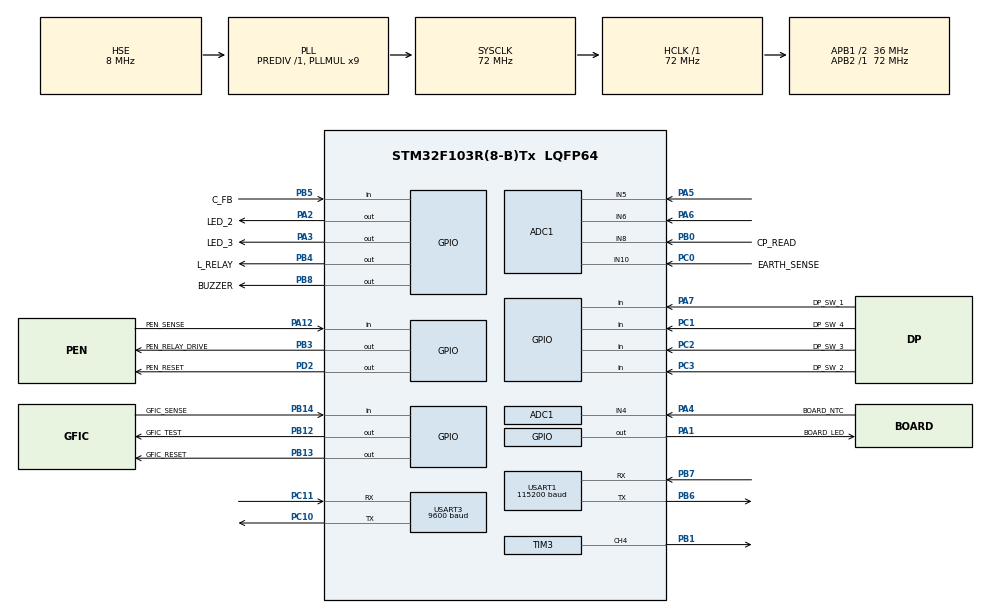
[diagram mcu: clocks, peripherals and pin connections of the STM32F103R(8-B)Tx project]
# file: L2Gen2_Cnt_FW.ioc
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ADC1.Channel-0\#ChannelRegularConversion=ADC_CHANNEL_4
ADC1.Channel-1\#ChannelRegularConversion=ADC_CHANNEL_5
ADC1.Channel-2\#ChannelRegularConversion=ADC_CHANNEL_6
ADC1.Channel-3\#ChannelRegularConversion=ADC_CHANNEL_8
ADC1.Channel-4\#ChannelRegularConversion=ADC_CHANNEL_10
ADC1.Channel-5\#ChannelRegularConversion=ADC_CHANNEL_TEMPSENSOR
ADC1.Channel-6\#ChannelRegularConversion=ADC_CHANNEL_VREFINT
ADC1.ContinuousConvMode=ENABLE
ADC1.NbrOfConversion=7
ADC1.NbrOfConversionFlag=1
ADC1.Rank-0\#ChannelRegularConversion=1
ADC1.Rank-1\#ChannelRegularConversion=2
ADC1.Rank-2\#ChannelRegularConversion=3
ADC1.Rank-3\#ChannelRegularConversion=4
ADC1.Rank-4\#ChannelRegularConversion=5
ADC1.Rank-5\#ChannelRegularConversion=6
ADC1.Rank-6\#ChannelRegularConversion=7
ADC1.SamplingTime-0\#ChannelRegularConversion=ADC_SAMPLETIME_7CYCLES_5
ADC1.SamplingTime-1\#ChannelRegularConversion=ADC_SAMPLETIME_7CYCLES_5
ADC1.SamplingTime-2\#ChannelRegularConversion=ADC_SAMPLETIME_7CYCLES_5
ADC1.SamplingTime-3\#ChannelRegularConversion=ADC_SAMPLETIME_28CYCLES_5
ADC1.SamplingTime-4\#ChannelRegularConversion=ADC_SAMPLETIME_7CYCLES_5
ADC1.SamplingTime-5\#ChannelRegularConversion=ADC_SAMPLETIME_7CYCLES_5
ADC1.SamplingTime-6\#ChannelRegularConversion=ADC_SAMPLETIME_239CYCLES_5
ADC1.master=1
Dma.ADC1.0.Direction=DMA_PERIPH_TO_MEMORY
Dma.ADC1.0.Instance=DMA1_Channel1
Dma.ADC1.0.MemDataAlignment=DMA_MDATAALIGN_HALFWORD
Dma.ADC1.0.MemInc=DMA_MINC_ENABLE
Dma.ADC1.0.Mode=DMA_CIRCULAR
Dma.ADC1.0.PeriphDataAlignment=DMA_PDATAALIGN_HALFWORD
Dma.ADC1.0.PeriphInc=DMA_PINC_DISABLE
Dma.ADC1.0.Priority=DMA_PRIORITY_VERY_HIGH
Dma.Request0=ADC1
Mcu.Family=STM32F1
Mcu.Name=STM32F103R(8-B)Tx
Mcu.Package=LQFP64
NVIC.ADC1_2_IRQn=true\:0\:0\:false\:false\:true\:true\:true\:true
NVIC.DMA1_Channel1_IRQn=true\:0\:0\:false\:false\:true\:false\:true\:true
NVIC.PriorityGroup=NVIC_PRIORITYGROUP_4
NVIC.TIM2_IRQn=true\:0\:0\:false\:false\:true\:true\:true\:true
NVIC.USART1_IRQn=true\:0\:0\:false\:false\:true\:true\:true\:true
NVIC.USART3_IRQn=true\:0\:0\:false\:false\:true\:true\:true\:true
PA0-WKUP.Mode=SYS_WakeUp0
PA0-WKUP.Signal=SYS_WKUP
PA1.GPIO_Label=BOARD_LED
PA1.Signal=GPIO_Output
PA12.GPIO_Label=PEN_SENSE
PA12.Signal=GPIO_Input
PA13.Mode=Serial_Wire
PA13.Signal=SYS_JTMS-SWDIO
PA14.Mode=Serial_Wire
PA14.Signal=SYS_JTCK-SWCLK
PA2.GPIO_Label=LED_2
PA2.Signal=GPIO_Output
PA3.GPIO_Label=LED_3
PA3.Signal=GPIO_Output
PA4.GPIO_Label=BOARD_NTC
PA4.Signal=ADCx_IN4
PA5.Signal=ADCx_IN5
PA6.Signal=ADCx_IN6
PA7.GPIO_Label=DP_SW_1
PA7.Signal=GPIO_Input
PB0.GPIO_Label=CP_READ
PB0.Signal=ADCx_IN8
PB1.Signal=S_TIM3_CH4
PB12.GPIO_Label=GFIC_TEST
PB12.Signal=GPIO_Output
PB13.GPIO_Label=GFIC_RESET
PB13.Signal=GPIO_Output
PB14.GPIO_Label=GFIC_SENSE
PB14.Signal=GPIO_Input
PB3.GPIO_Label=PEN_RELAY_DRIVE
PB3.Signal=GPIO_Output
PB4.GPIO_Label=L_RELAY
PB4.Signal=GPIO_Output
PB5.GPIO_Label=C_FB
PB5.Signal=GPIO_Input
PB6.Mode=Asynchronous
PB6.Signal=USART1_TX
PB7.Mode=Asynchronous
PB7.Signal=USART1_RX
PB8.GPIO_Label=BUZZER
PB8.Signal=GPIO_Output
PC0.GPIO_Label=EARTH_SENSE
PC0.Signal=ADCx_IN10
PC1.GPIO_Label=DP_SW_4
PC1.Signal=GPIO_Input
PC10.Mode=Asynchronous
PC10.Signal=USART3_TX
PC11.Mode=Asynchronous
PC11.Signal=USART3_RX
PC14-OSC32_IN.Mode=LSE-External-Oscillator
PC14-OSC32_IN.Signal=RCC_OSC32_IN
PC15-OSC32_OUT.Mode=LSE-External-Oscillator
PC15-OSC32_OUT.Signal=RCC_OSC32_OUT
PC2.GPIO_Label=DP_SW_3
PC2.Signal=GPIO_Input
PC3.GPIO_Label=DP_SW_2
PC3.Signal=GPIO_Input
PD0-OSC_IN.Mode=HSE-External-Oscillator
PD0-OSC_IN.Signal=RCC_OSC_IN
PD1-OSC_OUT.Mode=HSE-External-Oscillator
PD1-OSC_OUT.Signal=RCC_OSC_OUT
PD2.GPIO_Label=PEN_RESET
PD2.Signal=GPIO_Output
ProjectManager.HeapSize=0x200
ProjectManager.StackSize=0x400
ProjectManager.TargetToolchain=STM32CubeIDE
RCC.ADCPresc=RCC_ADCPCLK2_DIV6
RCC.AHBFreq_Value=72000000
RCC.APB1CLKDivider=RCC_HCLK_DIV2
RCC.APB1Freq_Value=36000000
RCC.APB1TimFreq_Value=72000000
RCC.APB2Freq_Value=72000000
RCC.APB2TimFreq_Value=72000000
RCC.HCLKFreq_Value=72000000
RCC.PLLMUL=RCC_PLL_MUL9
RCC.PLLSourceVirtual=RCC_PLLSOURCE_HSE
RCC.SYSCLKFreq_VALUE=72000000
RCC.SYSCLKSource=RCC_SYSCLKSOURCE_PLLCLK
RCC.USBFreq_Value=72000000
SH.ADCx_IN10.0=ADC1_IN10,IN10
SH.ADCx_IN4.0=ADC1_IN4,IN4
SH.ADCx_IN5.0=ADC1_IN5,IN5
SH.ADCx_IN6.0=ADC1_IN6,IN6
SH.ADCx_IN8.0=ADC1_IN8,IN8
SH.S_TIM3_CH4.0=TIM3_CH4,PWM Generation4 CH4
TIM2.AutoReloadPreload=TIM_AUTORELOAD_PRELOAD_ENABLE
TIM2.Period=71
TIM2.Prescaler=499
TIM3.Channel-PWM\ Generation4\ CH4=TIM_CHANNEL_4
TIM3.Period=999
TIM3.Prescaler=71
USART1.BaudRate=115200
USART1.VirtualMode=VM_ASYNC
USART3.BaudRate=9600
USART3.VirtualMode=VM_ASYNC
VP_ADC1_TempSens_Input.Mode=IN-TempSens
VP_ADC1_Vref_Input.Mode=IN-Vrefint
VP_RTC_VS_RTC_Activate.Mode=RTC_Enabled
VP_RTC_VS_RTC_Calendar.Mode=RTC_Calendar
VP_TIM2_VS_ClockSourceINT.Mode=Internal
VP_TIM3_VS_ClockSourceINT.Mode=Internal
board=custom

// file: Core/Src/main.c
/* USER CODE BEGIN Header */
/**
  ******************************************************************************
  * @file           : main.c
  * @brief          : Main program body
  ******************************************************************************
  * @attention
  *
  * Copyright (c) 2025 STMicroelectronics.
  * All rights reserved.
  *
  * This software is licensed under terms that can be found in the LICENSE file
  * in the root directory of this software component.
  * If no LICENSE file comes with this software, it is provided AS-IS.
  *
  ******************************************************************************
  */
/* USER CODE END Header */
#include "main.h"
#include "adc.h"
#include "dma.h"
#include "rtc.h"
#include "tim.h"
#include "usart.h"
#include "gpio.h"

/* USER CODE BEGIN Includes */
#include "stdio.h"
#include "math.h"
/* USER CODE END Includes */

/* USER CODE BEGIN PV */
uint16_t debug_count = 0;
bool watchdog_active = false;
/* USER CODE END PV */

void SystemClock_Config(void);

int main(void)
{

  /* MCU Configuration--------------------------------------------------------*/

  /* Reset of all peripherals, Initializes the Flash interface and the Systick. */
  HAL_Init();

  /* Configure the system clock */
  SystemClock_Config();

  /* Initialize all configured peripherals */
  MX_GPIO_Init();
  MX_DMA_Init();
  MX_ADC1_Init();
  MX_TIM3_Init();
  MX_USART1_UART_Init();
  MX_USART3_UART_Init();
  MX_RTC_Init();
  MX_TIM2_Init();
  /* USER CODE BEGIN 2 */
  /*---------------------------------------------------
  	 Initialization function
  	 ---------------------------------------------------*/
  	HAL_TIM_Base_Start_IT(&htim2);
  	HAL_TIM_PWM_Start(&htim3, TIM_CHANNEL_1);
  	HAL_TIM_PWM_Start(&htim3, TIM_CHANNEL_4);
  	HAL_ADCEx_Calibration_Start(&hadc1);
  	HAL_ADC_Start_DMA(&hadc1, (uint32_t*) adc_store, 7);

#if RTC_ACTIVE
	MX_RTC_Init();
	initRTC();
#endif

	//! An enum.
	init_dataStructures();
	initializeStateMachine((StateMachine*) &sm);

	/*---------------------------------------------------
	 Get HW version
	 ---------------------------------------------------*/
	get_HWVersion();

	/*---------------------------------------------------
	 calibrate CP values
	 ---------------------------------------------------*/
	cpCalibrate();

	/*---------------------------------------------------
	 Reset GFI sensor
	 ---------------------------------------------------*/
	GFIC_RESET_ON();
	PEN_RESET_ON();
	HAL_Delay(100);
	GFIC_RESET_OFF();
	PEN_RESET_OFF();

	run_GFITest = true;

	buzzer_poweron();
  /* USER CODE END 2 */

  /* Infinite loop */
  /* USER CODE BEGIN WHILE */
	/*---------------------------------------------------
	 Initialize serial peripheral and Modbus peripheral
	 ---------------------------------------------------*/
	CSMS_Init();
	ModbusRTU_Init();

	tick_clear(&timeout);
	tick_clear(&gfi_test);
	tick_clear(&rtc_checkCounter);
	tick_clear(&rtc_updateCounter);
	tick_clear(&serial_error);
	tick_clear(&load_balance6s);
	tick_clear(&error_handler);

  /* USER CODE END 2 */

  /* Infinite loop */
  /* USER CODE BEGIN WHILE */
  while (1)
  {
	  /*---------------------------------------------------
	  		 Charger initial check
	  		 ---------------------------------------------------*/
	  		if (charger_init_flag == false)
	  		{
	  			if ((networkSide_bootup == true)			//Serial check
	  					&& (bootup_timeUpdate == true)		//RTC check
	  					&& ((timeout.timeout_30s == true) || (emeter_bootup == true)))//Modbus check or 30sec Timeout
	  			{
	  				charger_init_flag = true;
	  			}
	  		}

	  		if (charger_setup_flag == false)
	  		{
	  			get_chargerConfig();
	  			charger_setup_flag = true;
	  		}

	  		if (charger_configSet.config_enable == true)
	  		{
	  			set_chargerConfig();
	  			charger_configSet.config_enable = false;
	  		}

	  		if (cpCalibrate_cmplt == true)
	  		{
	  			cpCalibrate_save();
	  			cpCalibrate_cmplt = false;
	  		}

	  		/*---------------------------------------------------
	  		 Vehicle connector function
	  		 ---------------------------------------------------*/
	  		check_vehicleConnector();
	  		check_PWMActive();

	  		/*---------------------------------------------------
	  		 Diode check function
	  		 ---------------------------------------------------*/
	  #if DIODE_CHECK
	  		if (timeout.timeout_0_5s == true)
	  		{
	  			check_diode();
	  		}
	  #else
	  		diodeCheck_passed = true;
	  #endif
	  		/*---------------------------------------------------
	  		 Energy meter reading functions
	  		 ---------------------------------------------------*/
	  		ModbusRTU_functions();
	  		get_EnergyMeterData();

	  		/*---------------------------------------------------
	  		 Serial CRC calculation and filter functions
	  		 ---------------------------------------------------*/
	  #if SERIAL_ACTIVE
	  		if (charger_init_flag == true)
	  		{
	  			CSMS_functions();
	  		}
	  #endif
	  		transmitSerial();

	  		/*---------------------------------------------------
	  		 RTC functions
	  		 ---------------------------------------------------*/
	  #if RTC_ACTIVE
	  		//---------------------------------------------------- Update time at boot up
	  		if ((bootup_timeUpdate == false)
	  		/*&& (networkSide_data.timeReady == 1)*/)
	  		{
	  			HAL_RTC_GetTime(&hrtc, &RtcTime, RTC_FORMAT_BIN);
	  			get_date();
	  			get_alarm();
	  			bootup_timeUpdate = true;
	  		}
	  		//---------------------------------------------------- Update time every 5min
	  		if ((rtc_updateCounter.timeout_1m == true)
	  				&& (networkSide_data.timeReady == 1)
	  				&& (networkSide_data.isInternet_available == 1))
	  		{
	  			tick_clear(&rtc_updateCounter);
	  			updateRTC();
	  		}
	  		//---------------------------------------------------- Update alarms
	  		if (networkSide_data.alarmUpdate == 1)
	  		{
	  			updateAlarm();
	  		}
	  		//---------------------------------------------------- Alarm check
	  		if (rtc_checkCounter.timeout_10s == true)
	  		{
	  			tick_clear(&rtc_checkCounter);
	  			if ((networkSide_data.isInternet_available == 1)
	  					&& (networkSide_data.timeReady == 1))
	  			{
	  				RtcTime.Hours = networkSide_data.setTime.Hours;
	  				RtcTime.Minutes = networkSide_data.setTime.Minutes;
	  				RtcDate.Date = networkSide_data.setDate.Date;
	  				RtcDate.Month = networkSide_data.setDate.Month;
	  				RtcDate.Year = networkSide_data.setDate.Year;

	  				weekdayOn.Hours = networkSide_data.weekdayOn.Hours;
	  				weekdayOn.Minutes = networkSide_data.weekdayOn.Minutes;
	  				weekdayOff.Hours = networkSide_data.weekdayOff.Hours;
	  				weekdayOff.Minutes = networkSide_data.weekdayOff.Minutes;

	  				weekendOn.Hours = networkSide_data.weekendOn.Hours;
	  				weekendOn.Minutes = networkSide_data.weekendOn.Minutes;
	  				weekendOff.Hours = networkSide_data.weekendOff.Hours;
	  				weekendOff.Minutes = networkSide_data.weekendOff.Minutes;
	  			}
	  			else
	  			{
	  				HAL_RTC_GetTime(&hrtc, &RtcTime, RTC_FORMAT_BIN);
	  				HAL_RTC_GetDate(&hrtc, &RtcDate, RTC_FORMAT_BIN);
	  			}

	  			checkWeekday_Time();

	  			if (controlSide_data.networkSide_request.bit.rtcUpdateComplete == true)
	  			{
	  				controlSide_data.networkSide_request.bit.rtcUpdateComplete = false;
	  			}
	  			if (controlSide_data.networkSide_request.bit.rtcUpdateAlarmComplete == true)
	  			{
	  				controlSide_data.networkSide_request.bit.rtcUpdateAlarmComplete = false;
	  			}
	  		}
	  #else
	  		bootup_timeUpdate = true;
	  #endif

	  		/*---------------------------------------------------
	  		 Debug LED run function - added to debug serial error
	  		 ---------------------------------------------------*/
	  		debug_count++;
	  		if (debug_count >= 6000)
	  		{
	  			debug_count = 0;
	  			HAL_GPIO_TogglePin(BOARD_LED_GPIO_Port, BOARD_LED_Pin);
	  			temperature_NTC();
	  			controlSide_data.mcuTemp = (((1.43
	  					- ((adc_store[5] / 4095.0) * VREF)) / 0.0043) + 25.0);
	  		}
	  		/*---------------------------------------------------
	  		 Energy meter reading functions
	  		 ---------------------------------------------------*/
	  		get_EnergyMeterData();

	  		/*---------------------------------------------------
	  		 Energy calculation functions
	  		 ---------------------------------------------------*/
	  		calculate_Energy();

	  		/*---------------------------------------------------
	  		 Watchdog function
	  		 ---------------------------------------------------*/
	  #if WATCHDOG_ENABLE
	  		if (watchdog_active == false)
	  		{
	  			watchdog_active = true;
	  			MX_IWDG_Init();
	  		}

	  		HAL_IWDG_Refresh(&hiwdg);
	  #endif

	  		/*---------------------------------------------------
	  		 Buzzer function
	  		 ---------------------------------------------------*/
	  		if (buzzer_en == true)
	  		{
	  			buzzer_en = false;
	  			buzzer_on();
	  		}

	  		/*---------------------------------------------------
	  		 Error logger
	  		 ---------------------------------------------------*/
	  		errorBuffer_log();
	  		errorBuffer_report();

	  		/*---------------------------------------------------
	  		 OTA Update
	  		 ---------------------------------------------------*/
	  		if (OTA_flag == true)
	  		{
	  			OTA_flag = false;
	  			Flag_up();
	  		}

    /* USER CODE END WHILE */

  }
}

void SystemClock_Config(void)
{
  RCC_OscInitTypeDef RCC_OscInitStruct = {0};
  RCC_ClkInitTypeDef RCC_ClkInitStruct = {0};
  RCC_PeriphCLKInitTypeDef PeriphClkInit = {0};

  /** Initializes the RCC Oscillators according to the specified parameters
  * in the RCC_OscInitTypeDef structure.
  */
  RCC_OscInitStruct.OscillatorType = RCC_OSCILLATORTYPE_LSI|RCC_OSCILLATORTYPE_HSE;
  RCC_OscInitStruct.HSEState = RCC_HSE_ON;
  RCC_OscInitStruct.HSEPredivValue = RCC_HSE_PREDIV_DIV1;
  RCC_OscInitStruct.HSIState = RCC_HSI_ON;
  RCC_OscInitStruct.LSIState = RCC_LSI_ON;
  RCC_OscInitStruct.PLL.PLLState = RCC_PLL_ON;
  RCC_OscInitStruct.PLL.PLLSource = RCC_PLLSOURCE_HSE;
  RCC_OscInitStruct.PLL.PLLMUL = RCC_PLL_MUL9;
  if (HAL_RCC_OscConfig(&RCC_OscInitStruct) != HAL_OK)
  {
    Error_Handler();
  }

  /** Initializes the CPU, AHB and APB buses clocks
  */
  RCC_ClkInitStruct.ClockType = RCC_CLOCKTYPE_HCLK|RCC_CLOCKTYPE_SYSCLK
                              |RCC_CLOCKTYPE_PCLK1|RCC_CLOCKTYPE_PCLK2;
  RCC_ClkInitStruct.SYSCLKSource = RCC_SYSCLKSOURCE_PLLCLK;
  RCC_ClkInitStruct.AHBCLKDivider = RCC_SYSCLK_DIV1;
  RCC_ClkInitStruct.APB1CLKDivider = RCC_HCLK_DIV2;
  RCC_ClkInitStruct.APB2CLKDivider = RCC_HCLK_DIV1;

  if (HAL_RCC_ClockConfig(&RCC_ClkInitStruct, FLASH_LATENCY_2) != HAL_OK)
  {
    Error_Handler();
  }
  PeriphClkInit.PeriphClockSelection = RCC_PERIPHCLK_RTC|RCC_PERIPHCLK_ADC;
  PeriphClkInit.RTCClockSelection = RCC_RTCCLKSOURCE_LSI;
  PeriphClkInit.AdcClockSelection = RCC_ADCPCLK2_DIV6;
  if (HAL_RCCEx_PeriphCLKConfig(&PeriphClkInit) != HAL_OK)
  {
    Error_Handler();
  }
}

/* USER CODE BEGIN 4 */
void HAL_TIM_PeriodElapsedCallback(TIM_HandleTypeDef *htim)
{
	if (htim->Instance == TIM2)
	{
		/*---------------------------------------------------
		 Timers count functions
		 ---------------------------------------------------*/
		tick_count(&timeout);
		tick_count(&gfi_test);
		tick_count(&serial_error);
		tick_count(&load_balance6s);
		tick_count(&error_handler);

		/*---------------------------------------------------
		 Main state machine function
		 ---------------------------------------------------*/
		check_vehicleConnector();
		get_GPIOFeedback();

		if ((charger_init_flag == true) && (charger_setup_flag == true))
		{
			load_balance(0);
			monitor_cp();

			errorDetector();
			errorHandler();

//			sm_control_run();

			runStateMachine((StateMachine*) &sm);
		}

		/*---------------------------------------------------
		 CP duty set function
		 ---------------------------------------------------*/
		setCP_duty();

		static uint8_t CSMS_trigCount = 0;

		CSMS_trigCount++;

		if (CSMS_trigCount > 1) // 500 us adapter
		{
			CSMS_trigCount = 0;
			CSMS_Intick(); // 1ms timer
			ModbusRTU_Intick();
		}
	}
}
/* USER CODE END 4 */

void Error_Handler(void)
{
  __disable_irq();
  while (1)
  {
  }
}
